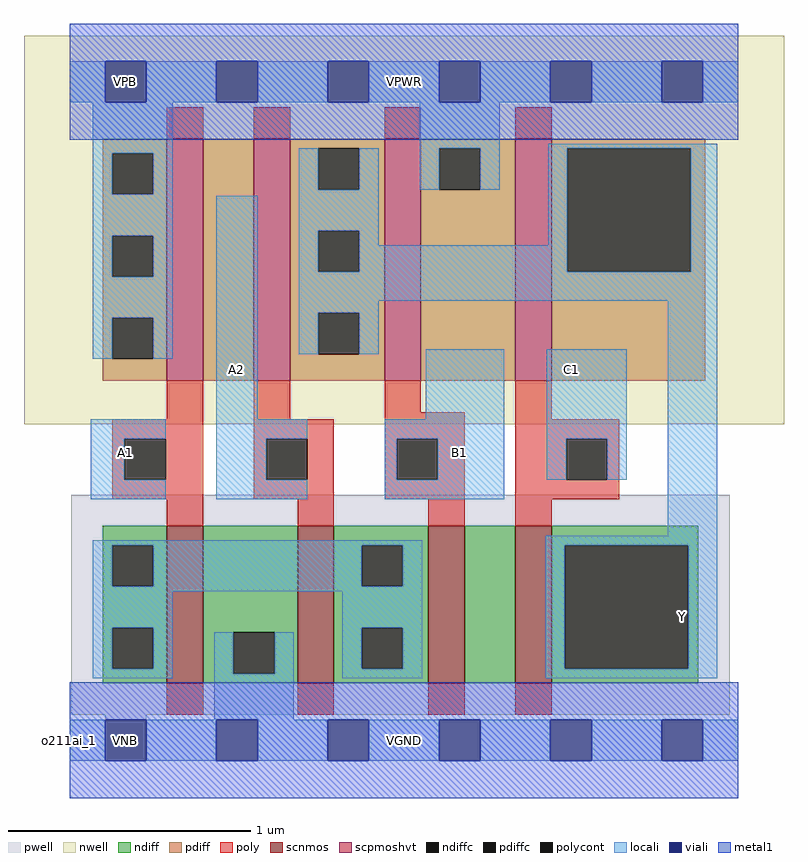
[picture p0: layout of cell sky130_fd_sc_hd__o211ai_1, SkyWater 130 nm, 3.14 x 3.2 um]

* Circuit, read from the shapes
.subckt sky130_fd_sc_hd__o211ai_1 A1 A2 B1 C1 VGND VNB VPB VPWR Y
XM1 VGND A1 n1 VNB sky130_fd_pr__nfet_01v8 w=0.65 l=0.15
XM2 n1 A2 VGND VNB sky130_fd_pr__nfet_01v8 w=0.65 l=0.15
XM3 n2 B1 n1 VNB sky130_fd_pr__nfet_01v8 w=0.65 l=0.15
XM4 Y C1 n2 VNB sky130_fd_pr__nfet_01v8 w=0.65 l=0.15
XM5 n3 A1 VPWR VPB sky130_fd_pr__pfet_01v8_hvt w=1 l=0.15
XM6 Y A2 n3 VPB sky130_fd_pr__pfet_01v8_hvt w=1 l=0.15
XM7 VPWR B1 Y VPB sky130_fd_pr__pfet_01v8_hvt w=1 l=0.15
XM8 Y C1 VPWR VPB sky130_fd_pr__pfet_01v8_hvt w=1 l=0.15
.ends

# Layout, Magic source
magic
tech sky130A
magscale 1 2
<< nwell >>
rect -38 261 590 582
<< pwell >>
rect 1 21 545 203
rect 29 -17 63 21
<< scnmos >>
rect 80 47 110 177
rect 188 47 218 177
rect 296 47 326 177
rect 368 47 398 177
<< scpmoshvt >>
rect 80 297 110 497
rect 152 297 182 497
rect 260 297 290 497
rect 368 297 398 497
<< ndiff >>
rect 27 161 80 177
rect 27 127 35 161
rect 69 127 80 161
rect 27 93 80 127
rect 27 59 35 93
rect 69 59 80 93
rect 27 47 80 59
rect 110 89 188 177
rect 110 55 135 89
rect 169 55 188 89
rect 110 47 188 55
rect 218 161 296 177
rect 218 127 241 161
rect 275 127 296 161
rect 218 93 296 127
rect 218 59 241 93
rect 275 59 296 93
rect 218 47 296 59
rect 326 47 368 177
rect 398 161 519 177
rect 398 59 409 161
rect 511 59 519 161
rect 398 47 519 59
<< pdiff >>
rect 27 485 80 497
rect 27 451 35 485
rect 69 451 80 485
rect 27 417 80 451
rect 27 383 35 417
rect 69 383 80 417
rect 27 349 80 383
rect 27 315 35 349
rect 69 315 80 349
rect 27 297 80 315
rect 110 297 152 497
rect 182 489 260 497
rect 182 455 205 489
rect 239 455 260 489
rect 182 421 260 455
rect 182 387 205 421
rect 239 387 260 421
rect 182 353 260 387
rect 182 319 205 353
rect 239 319 260 353
rect 182 297 260 319
rect 290 489 368 497
rect 290 455 305 489
rect 339 455 368 489
rect 290 297 368 455
rect 398 489 525 497
rect 398 387 411 489
rect 513 387 525 489
rect 398 297 525 387
<< ndiffc >>
rect 35 127 69 161
rect 35 59 69 93
rect 135 55 169 89
rect 241 127 275 161
rect 241 59 275 93
rect 409 59 511 161
<< pdiffc >>
rect 35 451 69 485
rect 35 383 69 417
rect 35 315 69 349
rect 205 455 239 489
rect 205 387 239 421
rect 205 319 239 353
rect 305 455 339 489
rect 411 387 513 489
<< poly >>
rect 80 497 110 523
rect 152 497 182 523
rect 260 497 290 523
rect 368 497 398 523
rect 80 265 110 297
rect 35 249 110 265
rect 35 215 45 249
rect 79 215 110 249
rect 35 199 110 215
rect 152 265 182 297
rect 260 271 290 297
rect 152 249 218 265
rect 152 215 162 249
rect 196 215 218 249
rect 152 199 218 215
rect 260 249 326 271
rect 260 215 270 249
rect 304 215 326 249
rect 260 199 326 215
rect 80 177 110 199
rect 188 177 218 199
rect 296 177 326 199
rect 368 265 398 297
rect 368 249 454 265
rect 368 215 410 249
rect 444 215 454 249
rect 368 199 454 215
rect 368 177 398 199
rect 80 21 110 47
rect 188 21 218 47
rect 296 21 326 47
rect 368 21 398 47
<< polycont >>
rect 45 215 79 249
rect 162 215 196 249
rect 270 215 304 249
rect 410 215 444 249
<< locali >>
rect 0 527 29 561
rect 63 527 121 561
rect 155 527 213 561
rect 247 527 305 561
rect 339 527 397 561
rect 431 527 489 561
rect 523 527 552 561
rect 19 485 85 527
rect 289 489 355 527
rect 19 451 35 485
rect 69 451 85 485
rect 19 417 85 451
rect 189 455 205 489
rect 239 455 255 489
rect 289 455 305 489
rect 339 455 355 489
rect 395 489 535 493
rect 19 383 35 417
rect 69 383 85 417
rect 19 349 85 383
rect 19 315 35 349
rect 69 315 85 349
rect 121 265 155 450
rect 189 421 255 455
rect 189 387 205 421
rect 239 409 255 421
rect 395 409 411 489
rect 239 387 411 409
rect 513 387 535 489
rect 189 363 535 387
rect 189 353 255 363
rect 189 319 205 353
rect 239 319 255 353
rect 294 265 359 323
rect 17 249 79 265
rect 17 215 45 249
rect 17 199 79 215
rect 121 249 196 265
rect 121 215 162 249
rect 121 199 196 215
rect 260 249 359 265
rect 260 215 270 249
rect 304 215 359 249
rect 394 249 460 323
rect 394 215 410 249
rect 444 215 460 249
rect 260 199 359 215
rect 494 169 535 363
rect 19 161 291 165
rect 19 127 35 161
rect 69 127 241 161
rect 275 127 291 161
rect 19 123 291 127
rect 19 93 85 123
rect 19 59 35 93
rect 69 59 85 93
rect 225 93 291 123
rect 19 51 85 59
rect 119 55 135 89
rect 169 55 185 89
rect 119 17 185 55
rect 225 59 241 93
rect 275 59 291 93
rect 225 51 291 59
rect 393 161 535 169
rect 393 59 409 161
rect 511 59 535 161
rect 393 51 535 59
rect 0 -17 29 17
rect 63 -17 121 17
rect 155 -17 213 17
rect 247 -17 305 17
rect 339 -17 397 17
rect 431 -17 489 17
rect 523 -17 552 17
<< viali >>
rect 29 527 63 561
rect 121 527 155 561
rect 213 527 247 561
rect 305 527 339 561
rect 397 527 431 561
rect 489 527 523 561
rect 29 -17 63 17
rect 121 -17 155 17
rect 213 -17 247 17
rect 305 -17 339 17
rect 397 -17 431 17
rect 489 -17 523 17
<< metal1 >>
rect 0 561 552 592
rect 0 527 29 561
rect 63 527 121 561
rect 155 527 213 561
rect 247 527 305 561
rect 339 527 397 561
rect 431 527 489 561
rect 523 527 552 561
rect 0 496 552 527
rect 0 17 552 48
rect 0 -17 29 17
rect 63 -17 121 17
rect 155 -17 213 17
rect 247 -17 305 17
rect 339 -17 397 17
rect 431 -17 489 17
rect 523 -17 552 17
rect 0 -48 552 -17
<< labels >>
flabel locali s 29 221 63 255 0 FreeSans 340 0 0 0 A1
port 1 nsew signal input
flabel locali s 121 289 155 323 0 FreeSans 340 0 0 0 A2
port 2 nsew signal input
flabel locali s 489 85 523 119 0 FreeSans 340 0 0 0 Y
port 9 nsew signal output
flabel locali s 397 289 431 323 0 FreeSans 340 0 0 0 C1
port 4 nsew signal input
flabel locali s 305 221 339 255 0 FreeSans 340 0 0 0 B1
port 3 nsew signal input
flabel nwell s 29 527 63 561 0 FreeSans 200 0 0 0 VPB
port 7 nsew power bidirectional
flabel pwell s 29 -17 63 17 0 FreeSans 200 0 0 0 VNB
port 6 nsew ground bidirectional
flabel metal1 s 29 -17 63 17 0 FreeSans 200 0 0 0 VGND
port 5 nsew ground bidirectional abutment
flabel metal1 s 29 527 63 561 0 FreeSans 200 0 0 0 VPWR
port 8 nsew power bidirectional abutment
rlabel comment s 0 0 0 0 4 o211ai_1
rlabel metal1 s 0 -48 552 48 1 VGND
port 5 nsew ground bidirectional abutment
rlabel metal1 s 0 496 552 592 1 VPWR
port 8 nsew power bidirectional abutment
<< properties >>
string FIXED_BBOX 0 0 552 544
string GDS_END 776350
string GDS_FILE $PDKPATH/libs.ref/sky130_fd_sc_hd/gds/sky130_fd_sc_hd.gds
string GDS_START 770954
string LEFclass CORE
string LEFsite unithd
string LEFsymmetry X Y R90
string path 0.000 0.000 2.760 0.000 
<< end >>
